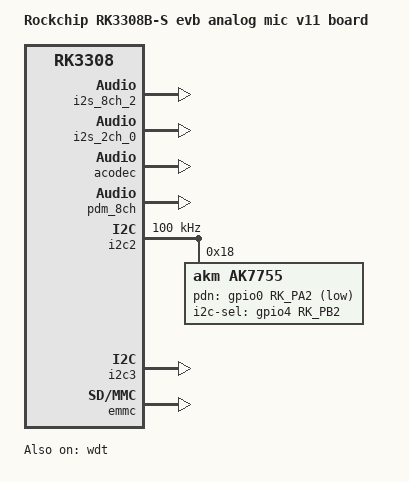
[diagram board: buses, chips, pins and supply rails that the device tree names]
// SPDX-License-Identifier: (GPL-2.0+ OR MIT)
/*
 * Copyright (c) 2021 Rockchip Electronics Co., Ltd
 */

/dts-v1/;

#include "rk3308bs-a610ks.dtsi"

/ {
	model = "Rockchip RK3308B-S evb analog mic v11 board";
	compatible = "rockchip,rk3308bs-evb-amic-v11", "rockchip,rk3308";
	
	acodec_sound: acodec-sound {
		status = "okay";
		compatible = "rockchip,multicodecs-card";
		rockchip,card-name = "rockchip,rk3308-acodec";
		rockchip,codec-hp-det;
		rockchip,mclk-fs = <256>;
		rockchip,cpu = <&i2s_8ch_2>;
		rockchip,codec = <&acodec>;
	};
	
	pdm_dmic_array: pdm-mic-array {
		status = "okay";
		compatible = "simple-audio-card";
		simple-audio-card,name = "rockchip,pdm-mic-array";
		simple-audio-card,cpu {
			sound-dai = <&pdm_8ch>;
		};
		simple-audio-card,codec {
			sound-dai = <&dummy_codec>;
		};
	};
	
	ak7755_sound: ak7755-sound {
		status = "okay";
		compatible = "simple-audio-card";
		simple-audio-card,format = "i2s";
		simple-audio-card,mclk-fs = <256>;
		simple-audio-card,name = "rockchip,ak7755";

		simple-audio-card,cpu {
			sound-dai = <&i2s_2ch_0>;
		};
		simple-audio-card,codec {
			sound-dai = <&ak7755>;
		};
 	};
	
	rockchip-keys {
		status = "okay";
		compatible = "rockchip,key";
		
		volume-plus-key {
			gpios = <&gpio4 RK_PA2 GPIO_ACTIVE_HIGH>;
			linux,code = <114>;
			label = "volplus";
			debounce-interval = <100>;
		};
		
		volume-reduce-key {
			gpios = <&gpio4 RK_PA0 GPIO_ACTIVE_HIGH>;
			linux,code = <115>;
			label = "volreduce";
			debounce-interval = <100>;
		};
		
		mic-mute-key {
			gpios = <&gpio4 RK_PA1 GPIO_ACTIVE_HIGH>;
			linux,code = <116>;
			label = "micmute";
			debounce-interval = <100>;
		};
		
		off-hook-key {
			gpios = <&gpio4 RK_PA4 GPIO_ACTIVE_HIGH>;
			linux,code = <117>;
			label = "offhook";
			debounce-interval = <100>;
		};
		
		on-hook-key {
			gpios = <&gpio4 RK_PA3 GPIO_ACTIVE_HIGH>;
			linux,code = <118>;
			label = "onhook";
			debounce-interval = <100>;
		};
		
		ex-board-1-key {
			gpios = <&gpio0 RK_PA5 GPIO_ACTIVE_LOW>;
			linux,code = <119>;
			label = "ex-b1-key";
			debounce-interval = <100>;
		};
		
		ex-board-2-key {
			gpios = <&gpio0 RK_PA7 GPIO_ACTIVE_LOW>;
			linux,code = <120>;
			label = "ex-b2-key";
			debounce-interval = <100>;
		};
	};
};

&i2s_8ch_2 {
	status = "okay";
	#sound-dai-cells = <0>;
};

&i2s_2ch_0 {
	status = "okay";
	#sound-dai-cells = <0>;
};

&acodec {
	status = "okay";
	rockchip,micbias1;
	rockchip,micbias2;
	rockchip,no-deep-low-power;
	rockchip,loopback-grp = <0>;
};

&bluetooth_sound {
	status = "disabled";
};

&pdm_8ch {
	status = "okay";
	#sound-dai-cells = <0>;
	//rockchip,no-dmaengine;
};

&i2c2 {
	clock-frequency = <100000>;
	status = "okay";
	ak7755: ak7755@18 {
		#sound-dai-cells = <0>;
		compatible = "akm,ak7755";
		reg = <0x18>;
		clocks = <&cru SCLK_I2S0_2CH_OUT>;
		clock-names = "mclk";
		pdn-gpio = <&gpio0 RK_PA2 GPIO_ACTIVE_LOW>;
		i2c-sel-gpio = <&gpio4 RK_PB2 GPIO_ACTIVE_HIGH>;
 	};
};

&i2c3 {
	status = "okay";
};

&i2c1 {
	status = "disabled";
};

&emmc {
	status = "okay";
};

&wdt {
	status = "okay";
};

&mac {
	status = "disabled";
};

&u2phy_otg {
	rockchip,vbus-always-on;
};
